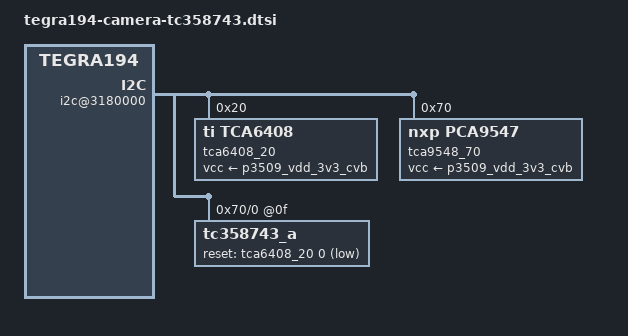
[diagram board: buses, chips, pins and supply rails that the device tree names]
/*
 * Copyright (c) 2015-2017, NVIDIA CORPORATION.  All rights reserved.
 *
 * This program is free software; you can redistribute it and/or modify
 * it under the terms of the GNU General Public License as published by
 * the Free Software Foundation; either version 2 of the License, or
 * (at your option) any later version.
 *
 * This program is distributed in the hope that it will be useful, but WITHOUT
 * ANY WARRANTY; without even the implied warranty of MERCHANTABILITY or
 * FITNESS FOR A PARTICULAR PURPOSE.  See the GNU General Public License for
 * more details.
 *
 * You should have received a copy of the GNU General Public License
 * along with this program.  If not, see <http://www.gnu.org/licenses/>.
 */

#include "tegra194-camera-capture-tc358743.dtsi"

#define CAMERA_I2C_MUX_BUS(x) (0x1E + x)

/* camera control gpio definitions */

/ {
	i2c@3180000 {
		#address-cells = <1>;
        #size-cells = <0>;
		tca6408_20: tca6408@20 {
			status = "okay";
			compatible = "ti,tca6408";
			gpio-controller;
			#gpio-cells = <2>;
			reg = <0x20>;
			//vcc-supply = <&en_vdd_cam>;
			vcc-supply = <&p3509_vdd_3v3_cvb>;
			tca6408_20_outlow {
				/*
				* GPIO-0 : CAM0_PWDN
				* GPIO-1 : CAM1_PWDN
				* GPIO-2 : CAM2_PWDN
				* GPIO-3 : CAM3_PWDN
				* GPIO-4 : CAM4_PWDN
				* GPIO-5 : CAM5_PWDN
				* GPIO-6 : EXT_GPIO_0
				* GPIO-7 : EXT_GPIO_1
				*/
				gpio-hog;
				gpios = <0 0 1 0 2 0 3 0 4 0 5 0 6 0 7 0>;
				output-low;
				label = "cam_rst_0",
					"cam_rst_1",
					"cam_rst_2",
					"cam_rst_3",
					"cam_rst_4",
					"cam_rst_5",
					"ext_gpio_0",
					"ext_gpio_1";
			};
			tca6408_20_outhigh {
				status = "disabled";
			};
			tca6408_20_input {
				status = "disabled";
			};
		};
		tca9548_70: tca9548@70 {
			status = "okay";
			compatible = "nxp,pca9547";
			reg = <0x70>;
			#address-cells = <1>;
			#size-cells = <0>;		
			//vcc-supply = <&en_vdd_cam>;
			vcc-supply = <&p3509_vdd_3v3_cvb>;
			skip_mux_detect;	
			force_bus_start = <CAMERA_I2C_MUX_BUS(0)>;			
			i2c@0 {
				status = "okay";
				reg = <0>;
				i2c-mux,deselect-on-exit;
				#address-cells = <1>;
				#size-cells = <0>;
				tc358743_a@0f {
					status = "okay";
					reset-gpios = <&tca6408_20 0 GPIO_ACTIVE_LOW>;
				};
			};
		};		
	};
};
